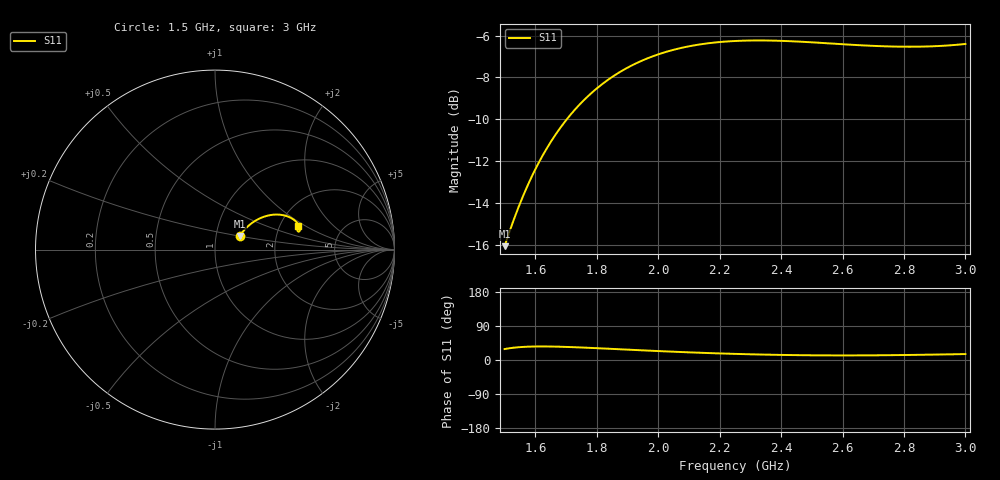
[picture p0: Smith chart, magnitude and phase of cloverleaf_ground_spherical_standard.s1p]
! S-parameter export from POSTFEKO
! Filename: cloverleaf_ground_spherical_standard
! Creation date: 2020-01-14 17:23:47
# Hz S MA R  1.0000000E+02
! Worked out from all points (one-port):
!   100 points, 1.5 GHz to 3 GHz, reference 100 ohm
!   lowest |S11| = -16.1 dB at 1.5 GHz (marker M1), VSWR 1.37, Z = 130 + j20.2 ohm
!   |S11| at or under -10 dB: start of sweep to 1.703 GHz
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1.5e9  0.1571 28.9
1.530303e9  0.1821 32.5
1.545454e9  0.1948 33.7
1.560606e9  0.2075 34.5
1.590909e9  0.2325 35.5
1.606061e9  0.2447 35.7
1.636364e9  0.2684 35.7
1.666667e9  0.291 35.3
1.69697e9  0.3123 34.6
1.742424e9  0.3417 33.2
1.787879e9  0.3679 31.6
1.833333e9  0.3912 29.9
1.878788e9  0.4114 28.2
1.924242e9  0.4287 26.4
1.969697e9  0.4433 24.7
2.015152e9  0.4555 23.1
2.075758e9  0.4682 21.0
2.121212e9  0.4753 19.6
2.166667e9  0.4806 18.2
2.257576e9  0.4866 16.0
2.348485e9  0.4877 14.2
2.439394e9  0.4854 13.0
2.530303e9  0.4813 12.3
2.636364e9  0.476 12.1
2.727273e9  0.4726 12.5
2.818182e9  0.4712 13.3
2.909091e9  0.4729 14.4
3e9  0.4784 15.6
